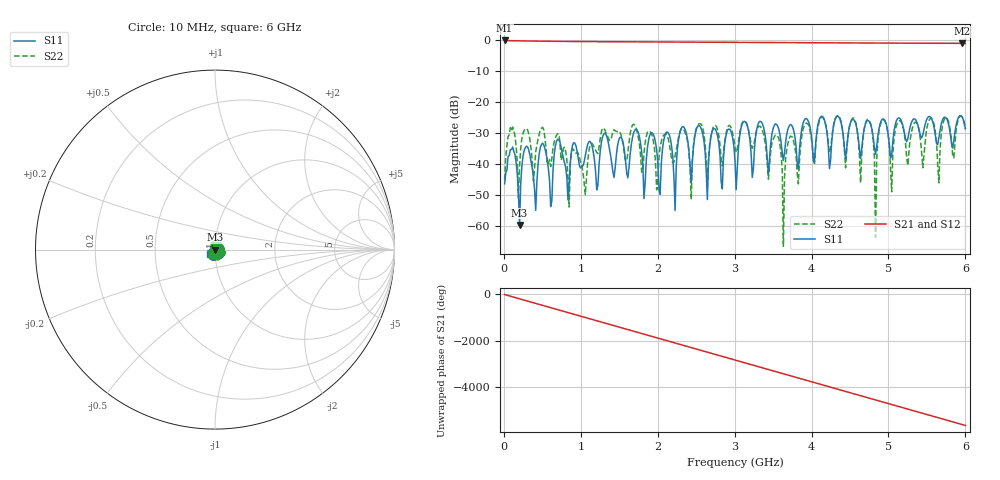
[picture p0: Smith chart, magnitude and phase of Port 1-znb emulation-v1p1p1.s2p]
! RsaToolbox (C) 2014 Rohde & Schwarz America
! Number of points: 401
! Number of ports: 2
! Balanced ports?: No
# Hz S RI R 50
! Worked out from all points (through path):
!   401 points, 10 MHz to 6 GHz, reference 50 ohm
!   highest |S21| = -0.03 dB at 10 MHz (marker M1); lowest = -1.0 dB at 5.955 GHz (marker M2)
!   group delay of S21, straight-line fit = 2.61 ns
!   lowest |S11| = -59.8 dB at 204.7 MHz (marker M3), VSWR 1.00, Z = 50 - j0.0951 ohm
!   |S11| at or under -10 dB: start of sweep to end of sweep
!   |S22| runs from -66.7 to -24.3 dB; largest |S21 - S12| = 0
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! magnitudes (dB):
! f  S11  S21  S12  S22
! 10 MHz  -46.5  0.0  0.0  -45.2
! 99.85 MHz  -35.3  -0.1  -0.1  -29.3
! 204.7 MHz  -59.8  -0.2  -0.2  -40.7
! 294.5 MHz  -34.3  -0.2  -0.2  -28.6
! 399.4 MHz  -48.3  -0.2  -0.2  -41.4
! 504.2 MHz  -33.3  -0.3  -0.3  -28.2
! 609 MHz  -53.8  -0.3  -0.3  -40.9
! 698.9 MHz  -32.0  -0.3  -0.3  -30.3
! 1.013 GHz  -40.9  -0.4  -0.4  -40.7
! 1.717 GHz  -28.8  -0.5  -0.5  -28.3
! 2.017 GHz  -48.3  -0.5  -0.5  -38.0
! 2.331 GHz  -27.9  -0.6  -0.6  -28.8
! 3.005 GHz  -39.0  -0.7  -0.7  -34.6
! 3.125 GHz  -26.2  -0.7  -0.7  -26.1
! 3.23 GHz  -44.4  -0.7  -0.7  -34.9
! 3.559 GHz  -27.7  -0.7  -0.7  -31.2
! 3.634 GHz  -38.9  -0.7  -0.7  -66.7
! 3.724 GHz  -27.3  -0.8  -0.8  -31.0
! 4.008 GHz  -33.4  -0.8  -0.8  -33.8
! 5.012 GHz  -33.8  -0.9  -0.9  -34.0
! 5.955 GHz  -24.7  -1.0  -1.0  -24.7
! 6 GHz  -28.5  -1.0  -1.0  -28.9
